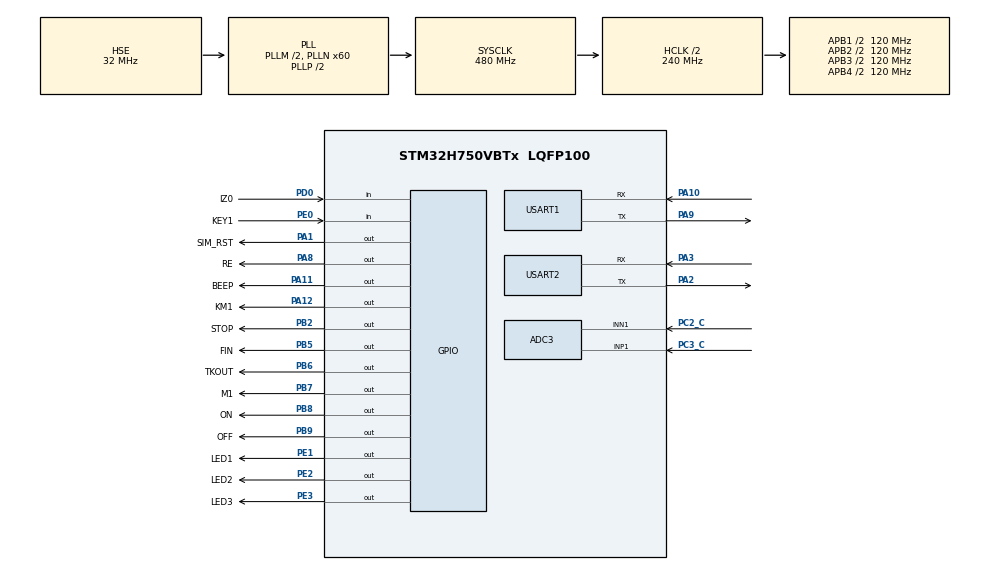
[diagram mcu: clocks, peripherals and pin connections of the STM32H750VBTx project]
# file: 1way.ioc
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ADC3.Channel-0\#ChannelRegularConversion=ADC_CHANNEL_1
ADC3.ClockPrescaler=ADC_CLOCK_ASYNC_DIV6
ADC3.ContinuousConvMode=DISABLE
ADC3.ConversionDataManagement=ADC_CONVERSIONDATA_DR
ADC3.DiscontinuousConvMode=ENABLE
ADC3.NbrOfConversion=1
ADC3.NbrOfConversionFlag=1
ADC3.OffsetNumber-0\#ChannelRegularConversion=ADC_OFFSET_NONE
ADC3.Overrun=ADC_OVR_DATA_OVERWRITTEN
ADC3.Rank-0\#ChannelRegularConversion=1
ADC3.SamplingTime-0\#ChannelRegularConversion=ADC_SAMPLETIME_1CYCLE_5
ADC3.SingleDiff-0\#ChannelRegularConversion=ADC_DIFFERENTIAL_ENDED
CORTEX_M7.CPU_DCache=Enabled
CORTEX_M7.CPU_ICache=Enabled
Mcu.Family=STM32H7
Mcu.Name=STM32H750VBTx
Mcu.Package=LQFP100
NVIC.PriorityGroup=NVIC_PRIORITYGROUP_4
NVIC.TIM1_BRK_IRQn=true\:0\:0\:false\:false\:true\:true\:true
NVIC.TIM1_CC_IRQn=true\:0\:0\:false\:false\:true\:true\:true
NVIC.TIM1_TRG_COM_IRQn=true\:0\:0\:false\:false\:true\:true\:true
NVIC.TIM1_UP_IRQn=true\:0\:0\:false\:false\:true\:true\:true
NVIC.USART1_IRQn=true\:0\:0\:false\:false\:true\:true\:true
NVIC.USART2_IRQn=true\:0\:0\:false\:false\:true\:true\:true
PA1.GPIO_Label=SIM_RST
PA1.Signal=GPIO_Output
PA10.Mode=Asynchronous
PA10.Signal=USART1_RX
PA11.GPIO_Label=BEEP
PA11.Signal=GPIO_Output
PA12.GPIO_Label=KM1
PA12.Signal=GPIO_Output
PA2.Mode=Asynchronous
PA2.Signal=USART2_TX
PA3.Mode=Asynchronous
PA3.Signal=USART2_RX
PA8.GPIO_Label=RE
PA8.Signal=GPIO_Output
PA9.Mode=Asynchronous
PA9.Signal=USART1_TX
PB2.GPIO_Label=STOP
PB2.Signal=GPIO_Output
PB5.GPIO_Label=FIN
PB5.Signal=GPIO_Output
PB6.GPIO_Label=TKOUT
PB6.Signal=GPIO_Output
PB7.GPIO_Label=M1
PB7.Signal=GPIO_Output
PB8.GPIO_Label=ON
PB8.Signal=GPIO_Output
PB9.GPIO_Label=OFF
PB9.Signal=GPIO_Output
PC14-OSC32_IN\ (OSC32_IN).Mode=LSE-External-Oscillator
PC14-OSC32_IN\ (OSC32_IN).Signal=RCC_OSC32_IN
PC15-OSC32_OUT\ (OSC32_OUT).Mode=LSE-External-Oscillator
PC15-OSC32_OUT\ (OSC32_OUT).Signal=RCC_OSC32_OUT
PC2_C.Mode=IN1-Differential
PC2_C.Signal=ADC3_INN1
PC3_C.Mode=IN1-Differential
PC3_C.Signal=ADC3_INP1
PD0.GPIO_Label=IZ0
PD0.Signal=GPIO_Input
PE0.GPIO_Label=KEY1
PE0.Signal=GPIO_Input
PE1.GPIO_Label=LED1
PE1.Signal=GPIO_Output
PE2.GPIO_Label=LED2
PE2.Signal=GPIO_Output
PE3.GPIO_Label=LED3
PE3.Signal=GPIO_Output
PH0-OSC_IN\ (PH0).Mode=HSE-External-Oscillator
PH0-OSC_IN\ (PH0).Signal=RCC_OSC_IN
PH1-OSC_OUT\ (PH1).Mode=HSE-External-Oscillator
PH1-OSC_OUT\ (PH1).Signal=RCC_OSC_OUT
ProjectManager.HeapSize=0x200
ProjectManager.StackSize=0x400
ProjectManager.TargetToolchain=MDK-ARM V5.27
RCC.ADCFreq_Value=75000000
RCC.APB1Freq_Value=120000000
RCC.APB2Freq_Value=120000000
RCC.APB3Freq_Value=120000000
RCC.APB4Freq_Value=120000000
RCC.CortexFreq_Value=480000000
RCC.D1PPRE=RCC_APB3_DIV2
RCC.D2PPRE1=RCC_APB1_DIV2
RCC.D2PPRE2=RCC_APB2_DIV2
RCC.D3PPRE=RCC_APB4_DIV2
RCC.DIVM1=2
RCC.DIVN1=60
RCC.DIVN2=150
RCC.HCLKFreq_Value=240000000
RCC.HPRE=RCC_HCLK_DIV2
RCC.HSE_VALUE=32000000
RCC.PLL2FRACN=0
RCC.PLL3FRACN=0
RCC.PLLFRACN=0
RCC.PLLSourceVirtual=RCC_PLLSOURCE_HSE
RCC.SYSCLKFreq_VALUE=480000000
RCC.SYSCLKSource=RCC_SYSCLKSOURCE_PLLCLK
RCC.USBFreq_Value=480000000
RTC.Date=11
RTC.Month=RTC_MONTH_NOVEMBER
RTC.Year=19
TIM1.Period=1000
TIM1.Prescaler=240
USART1.VirtualMode-Asynchronous=VM_ASYNC
USART2.VirtualMode-Asynchronous=VM_ASYNC
VP_RTC_VS_RTC_Activate.Mode=RTC_Enabled
VP_RTC_VS_RTC_Calendar.Mode=RTC_Calendar
VP_TIM1_VS_ClockSourceINT.Mode=Internal
board=custom

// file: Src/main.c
/* USER CODE BEGIN Header */
/**
  ******************************************************************************
  * @file           : main.c
  * @brief          : Main program body
  ******************************************************************************
  * @attention
  *
  * <h2><center>&copy; Copyright (c) 2019 STMicroelectronics.
  * All rights reserved.</center></h2>
  *
  * This software component is licensed by ST under BSD 3-Clause license,
  * the "License"; You may not use this file except in compliance with the
  * License. You may obtain a copy of the License at:
  *                        opensource.org/licenses/BSD-3-Clause
  *
  ******************************************************************************
  */
/* USER CODE END Header */

#include "main.h"
#include "adc.h"
#include "rtc.h"
#include "tim.h"
#include "usart.h"
#include "gpio.h"

/* USER CODE BEGIN Includes */
//USE_HAL_DRIVER, STM32H743xx,ARM_MATH_CM7,__CC_ARM,ARM_MATH_MATRIX_CHECK,ARM_MATH_ROUNDING  加入此行宏定义启用FFT算法
//#include "printf.h"
#include <stdio.h>
#include <string.h>
#include <math.h>
#include "sys.h"
#include "delay.h"
#include "arm_math.h"
#include "usmart.h"
#include "stmflash.h"
#include "stdlib.h"
#include "stdarg.h"
//#define  aprint(...)	{HAL_GPIO_WritePin(RE_GPIO_Port,RE_Pin,GPIO_PIN_SET);delay_us(200);printf(__VA_ARGS__);delay_us(200);HAL_GPIO_WritePin(RE_GPIO_Port,RE_Pin,GPIO_PIN_RESET);}
#define aprint(...) printf(__VA_ARGS__)
#define FFT_LENGTH 		1024
//#define adc2i					670							//adc转化成电流i的比值
#define bee				HAL_GPIO_To
#define FLASH_SAVE_ADDR  0X08020000 	//设置FLASH 保存地址(必须为4的倍数，且所在扇区,要大于本代码所占用到的扇区.
										//否则,写操作的时候,可能会导致擦除整个扇区,从而引起部分程序丢失.引起死机.

/* USER CODE END Includes */

/* USER CODE BEGIN PV */
int i=0;							//for循环变量
int j=0;							//for循环变量
int k=0;							//for循环变量
int sw=0;							//切换前后波形数据控制变量
int count=0;
float amp_value=0.0;				//限制漏电电流转换为幅值有效值
int zero = 33220;
int reset4G =0;  //4g数据 接收超时重置标志
int connect_confirm =0; //定时发送消息确保连接
int alarm_message = 0;
int time_out=0;
int filter_len=5;
int limit_A =300;
int filter_index = 0;
int beep_flag=0;
int led_flag=0;
float adc1_error[1024];
float adc0_error[1024];
int har_error=0;
float cos_error=0;
float I1_error=0;
float I0_error=0;
int printf_flag=1;
uint8_t input_read ;
u32 adc[100];
int adc2i;
u8 waveFlag=0;
uint8_t timeOutFlag=0;
uint8_t cnt = 1 ;
u8 start1 =0,start2=0;
char buffer4g[256];

//u16 USART_RX_STA;
//u8 USART_RX_BUF[200];
RTC_DateTypeDef sdatestructure;
RTC_TimeTypeDef stimestructure;
int year,month,date;
int hour,minute,second;
int flash[9];
int limit;
int I;
u8 test[] ={0x03, 0x04,0x00,0x01,0x02,0x00};
int uartTimer=0;
int settingFlag=0;

int rxDone=0;
//int CRC;
//int CRCH;
//int CRCL;
//struct {
//	int K1_Pin:1;
//
//}sw_input;

uint8_t aRxBuffer2[1];			//接收中断缓冲
uint8_t Uart2_RxBuff[256];		//接收缓冲
uint8_t Uart2_Rx_Cnt = 0;		//接收缓冲计数

uint8_t aRxBuffer1[1];			//接收中断缓冲
uint8_t Uart3_RxBuff[256];		//接收缓冲
uint8_t rxBuff[256];
uint8_t len=0;
uint8_t Uart3_Rx_Cnt = 0;		//接收缓冲计数
uint8_t	cAlmStr[] = "数据溢出(大于256)\r\n";

int tim_count=0;
int start=0;						//第一次执行main函数 只采集了一个波形不做比较，用于第一次跳过比较
arm_cfft_radix4_instance_f32 scfft;

int filter1[5],filter0[5];
int adc1[1030],adc0[1030];
float avg1[1024],avg0[1024];
float cut1[400],cut0[400];
int p1=0,p0=0;
float A=0;
float B=0;
float AB=0;
float adc00[1000],adc01[1000];

float input1[2*FFT_LENGTH],input0[2*FFT_LENGTH];
float output1[FFT_LENGTH],output0[FFT_LENGTH];
float max1=0,max0=0;
float Imax1=0;
float Imax0=0;
float cos1=0;
float cos0=0;
int har=0;
int flag=0;
float Itemp;

const unsigned char auchCRCLo[]={
	0x00, 0xC0, 0xC1, 0x01, 0xC3, 0x03, 0x02, 0xC2, 0xC6, 0x06,
	0x07, 0xC7, 0x05, 0xC5, 0xC4, 0x04, 0xCC, 0x0C, 0x0D, 0xCD,
	0x0F, 0xCF, 0xCE, 0x0E, 0x0A, 0xCA, 0xCB, 0x0B, 0xC9, 0x09,
	0x08, 0xC8, 0xD8, 0x18, 0x19, 0xD9, 0x1B, 0xDB, 0xDA, 0x1A,
	0x1E, 0xDE, 0xDF, 0x1F, 0xDD, 0x1D, 0x1C, 0xDC, 0x14, 0xD4,
	0xD5, 0x15, 0xD7, 0x17, 0x16, 0xD6, 0xD2, 0x12, 0x13, 0xD3,
	0x11, 0xD1, 0xD0, 0x10, 0xF0, 0x30, 0x31, 0xF1, 0x33, 0xF3,
	0xF2, 0x32, 0x36, 0xF6, 0xF7, 0x37, 0xF5, 0x35, 0x34, 0xF4,
	0x3C, 0xFC, 0xFD, 0x3D, 0xFF, 0x3F, 0x3E, 0xFE, 0xFA, 0x3A,
	0x3B, 0xFB, 0x39, 0xF9, 0xF8, 0x38, 0x28, 0xE8, 0xE9, 0x29,
	0xEB, 0x2B, 0x2A, 0xEA, 0xEE, 0x2E, 0x2F, 0xEF, 0x2D, 0xED,
	0xEC, 0x2C, 0xE4, 0x24, 0x25, 0xE5, 0x27, 0xE7, 0xE6, 0x26,
	0x22, 0xE2, 0xE3, 0x23, 0xE1, 0x21, 0x20, 0xE0, 0xA0, 0x60,
	0x61, 0xA1, 0x63, 0xA3, 0xA2, 0x62, 0x66, 0xA6, 0xA7, 0x67,
	0xA5, 0x65, 0x64, 0xA4, 0x6C, 0xAC, 0xAD, 0x6D, 0xAF, 0x6F,
	0x6E, 0xAE, 0xAA, 0x6A, 0x6B, 0xAB, 0x69, 0xA9, 0xA8, 0x68,
	0x78, 0xB8, 0xB9, 0x79, 0xBB, 0x7B, 0x7A, 0xBA, 0xBE, 0x7E,
	0x7F, 0xBF, 0x7D, 0xBD, 0xBC, 0x7C, 0xB4, 0x74, 0x75, 0xB5,
	0x77, 0xB7, 0xB6, 0x76, 0x72, 0xB2, 0xB3, 0x73, 0xB1, 0x71,
	0x70, 0xB0, 0x50, 0x90, 0x91, 0x51, 0x93, 0x53, 0x52, 0x92,
	0x96, 0x56, 0x57, 0x97, 0x55, 0x95, 0x94, 0x54, 0x9C, 0x5C,
	0x5D, 0x9D, 0x5F, 0x9F, 0x9E, 0x5E, 0x5A, 0x9A, 0x9B, 0x5B,
	0x99, 0x59, 0x58, 0x98, 0x88, 0x48, 0x49, 0x89, 0x4B, 0x8B,
	0x8A, 0x4A, 0x4E, 0x8E, 0x8F, 0x4F, 0x8D, 0x4D, 0x4C, 0x8C,
	0x44, 0x84, 0x85, 0x45, 0x87, 0x47, 0x46, 0x86, 0x82, 0x42,
	0x43, 0x83, 0x41, 0x81, 0x80, 0x40
};

const unsigned char auchCRCHi[]={
	 0x00, 0xC1, 0x81, 0x40, 0x01, 0xC0, 0x80, 0x41, 0x01, 0xC0,
	 0x80, 0x41, 0x00, 0xC1, 0x81, 0x40, 0x01, 0xC0, 0x80, 0x41,
	 0x00, 0xC1, 0x81, 0x40, 0x00, 0xC1, 0x81, 0x40, 0x01, 0xC0,
	 0x80, 0x41, 0x01, 0xC0, 0x80, 0x41, 0x00, 0xC1, 0x81, 0x40,
	 0x00, 0xC1, 0x81, 0x40, 0x01, 0xC0, 0x80, 0x41, 0x00, 0xC1,
	 0x81, 0x40, 0x01, 0xC0, 0x80, 0x41, 0x01, 0xC0, 0x80, 0x41,
	 0x00, 0xC1, 0x81, 0x40, 0x01, 0xC0, 0x80, 0x41, 0x00, 0xC1,
	 0x81, 0x40, 0x00, 0xC1, 0x81, 0x40, 0x01, 0xC0, 0x80, 0x41,
	 0x00, 0xC1, 0x81, 0x40, 0x01, 0xC0, 0x80, 0x41, 0x01, 0xC0,
	 0x80, 0x41, 0x00, 0xC1, 0x81, 0x40, 0x00, 0xC1, 0x81, 0x40,
	 0x01, 0xC0, 0x80, 0x41, 0x01, 0xC0, 0x80, 0x41, 0x00, 0xC1,
	 0x81, 0x40, 0x01, 0xC0, 0x80, 0x41, 0x00, 0xC1, 0x81, 0x40,
	 0x00, 0xC1, 0x81, 0x40, 0x01, 0xC0, 0x80, 0x41, 0x01, 0xC0,
	 0x80, 0x41, 0x00, 0xC1, 0x81, 0x40, 0x00, 0xC1, 0x81, 0x40,
	 0x01, 0xC0, 0x80, 0x41, 0x00, 0xC1, 0x81, 0x40, 0x01, 0xC0,
	 0x80, 0x41, 0x01, 0xC0, 0x80, 0x41, 0x00, 0xC1, 0x81, 0x40,
	 0x00, 0xC1, 0x81, 0x40, 0x01, 0xC0, 0x80, 0x41, 0x01, 0xC0,
	 0x80, 0x41, 0x00, 0xC1, 0x81, 0x40, 0x01, 0xC0, 0x80, 0x41,
	 0x00, 0xC1, 0x81, 0x40, 0x00, 0xC1, 0x81, 0x40, 0x01, 0xC0,
	 0x80, 0x41, 0x00, 0xC1, 0x81, 0x40, 0x01, 0xC0, 0x80, 0x41,
	 0x01, 0xC0, 0x80, 0x41, 0x00, 0xC1, 0x81, 0x40, 0x01, 0xC0,
	 0x80, 0x41, 0x00, 0xC1, 0x81, 0x40, 0x00, 0xC1, 0x81, 0x40,
	 0x01, 0xC0, 0x80, 0x41, 0x01, 0xC0, 0x80, 0x41, 0x00, 0xC1,
	 0x81, 0x40, 0x00, 0xC1, 0x81, 0x40, 0x01, 0xC0, 0x80, 0x41,
	 0x00, 0xC1, 0x81, 0x40, 0x01, 0xC0, 0x80, 0x41, 0x01, 0xC0,
	 0x80, 0x41, 0x00, 0xC1, 0x81, 0x40
 };

/* USER CODE END PV */

void SystemClock_Config(void);
/* USER CODE BEGIN PFP */
//void SET4G(void);
void sort(int* a,int len);
int get_ADC(ADC_HandleTypeDef adc);
void filter_A(int* a);
int abs(int a);
int filter_M(int *filter,int len);
unsigned int getCRC(unsigned char b[],unsigned int len);
void set_I(int a);
 float getSqrt(float*a,int len);
void get_info(void);
void set_adc2i(int a);
void get_wave(void);
void ufunc(void);
int printf4g(char *format, ...);
/* USER CODE END PFP */

int main(void)
{
  //printf("");

  /* Enable I-Cache---------------------------------------------------------*/
  SCB_EnableICache();

  /* Enable D-Cache---------------------------------------------------------*/
  SCB_EnableDCache();

  /* MCU Configuration--------------------------------------------------------*/

  /* Reset of all peripherals, Initializes the Flash interface and the Systick. */
  HAL_Init();

  /* Configure the system clock */
  SystemClock_Config();

  /* Initialize all configured peripherals */
  MX_TIM1_Init();
  MX_GPIO_Init();
  MX_ADC3_Init();
  MX_USART1_UART_Init();
  MX_USART2_UART_Init();
  MX_RTC_Init();
  /* USER CODE BEGIN 2 */
  HAL_ADCEx_Calibration_Start(&hadc3,ADC_CALIB_OFFSET,ADC_DIFFERENTIAL_ENDED);

 // HAL_TIM_Base_Start_IT(&htim1);
  delay_init(480);
  //HAL_GPIO_WritePin(RE_GPIO_Port,RE_Pin,GPIO_PIN_SET);
  HAL_UART_Receive_IT(&huart2, (uint8_t *)&aRxBuffer2,1);
  HAL_UART_Receive_IT(&huart1, (uint8_t *)&aRxBuffer2, 1);
  HAL_TIM_Base_Start_IT(&htim1);
//Timer4_Init(1000 ,240);

  //usmart_dev.init(240);
  STMFLASH_Read(FLASH_SAVE_ADDR,(u32*)flash,9);
  arm_cfft_radix4_init_f32(&scfft,FFT_LENGTH,0,1);
  delay_ms(1000);
  filter_index = filter_len/2;
  if(flash[0]>0)limit=flash[0]; else limit =100;
  if(flash[1]>0)I=flash[1];else I=2000;
	if(flash[2]>0)adc2i=flash[2];else adc2i=2682;
 // HAL_ADC_Start(&hadc3);
 // HAL_ADC_Start_DMA(&hadc3,adc,100);
  amp_value=(adc2i*limit);

//	input_read = (GPIOH->IDR-->2)&0x0F;
  /* USER CODE END 2 */

  /* Infinite loop */
  while (1)
  {

    /* USER CODE BEGIN 3 */
		sw=!sw;
//		HAL_ADC_Start(&hadc3);
//		HAL_ADC_PollForConversion(&hadc3,0xffff);
//		printf("%i\r\n",HAL_ADC_GetValue(&hadc3));

//**************************************ADC采样***************************************************//
		if(sw){	for(i=0;i<1030;i++){for(k=0;k<filter_len;k++)filter1[k]=get_ADC(hadc3);
																adc1[i]=filter_M(filter1,filter_len);
																delay_us(190);}
						filter_A(adc1);

		}else{for(i=0;i<1030;i++){for(k=0;k<filter_len;k++)filter1[k]=get_ADC(hadc3);
																adc0[i]=filter_M(filter1,filter_len);
																delay_us(190);}
						filter_A(adc0);
		}

	//*************************************滑动平均、cut、input***********************************************//
		if(sw){	for(i=0;i<1024;i++){input1[2*i]=avg1[i]=(adc1[i]+adc1[i+1]+adc1[i+2]+adc1[i+3]+adc1[i+4])/5.0;	input1[2*i+1]=0;}
						max1=0;
						for(i=0;i<200;i++){	if(avg1[i]>max1)max1=avg1[i];};
						for(i=0;i<200;i++){	if(avg1[i]==max1)p1=i;}
						for(i=0;i<400;i++){	cut1[i]=avg1[i+p1];}
				Itemp=Imax1;
				Imax1=getSqrt(avg1,1000);
		}
		else{for(i=0;i<1024;i++){	input0[2*i]=avg0[i]=(adc0[i]+adc0[i+1]+adc0[i+2]+adc0[i+3]+adc0[i+4])/5.0;	input0[2*i+1]=0;}

						max0=0;
						for(i=0;i<200;i++){	if(avg0[i]>max0)max0=avg0[i];};
						for(i=0;i<200;i++){	if(avg0[i]==max0)p0=i;}
						for(i=0;i<400;i++){	cut0[i]=avg0[i+p0];}
				Itemp=Imax0;
				Imax0=getSqrt(avg0,1000);
		}

	//***************************************相似度计算*********************************************************//

		if(start){A=B=AB=0;
							for(i=0;i<400;i++){A+=(cut0[i]-zero)*(cut0[i]-zero);B+=(cut1[i]-zero)*(cut1[i]-zero);AB+=(cut0[i]-zero)*(cut1[i]-zero);}
							cos1=AB*AB/A/B;}

	//***************************************FFT计算************************************************************//
//		if(sw){	arm_cfft_radix4_f32(&scfft,input1);
//						arm_cmplx_mag_f32(input1,output1,FFT_LENGTH);
//						Imax1=0;
//						for(i=1;i<100;i++){	if(output1[i]>Imax1)Imax1=output1[i];}}
//		else if(start){
//				arm_cfft_radix4_f32(&scfft,input0);
//				arm_cmplx_mag_f32(input0,output0,FFT_LENGTH);
//				Imax0=0;
//				for(i=1;i<100;i++){	if(output0[i]>Imax0)Imax0=output0[i];}}

	//*****************************************************前后波形振幅比较******************//
		if(start){if(sw){if((Imax1-Itemp)>amp_value)har=(int)(Imax1-Itemp);}
							else{	if((Imax0-Itemp)>amp_value)har=(int)(Imax0-Itemp);}}

	//***************************************************报警****************************************//
		if((((int)Imax1>(I*adc2i))||((int)Imax0>(I*adc2i))||har)&&start2){		flag=1;
						memcpy(adc00,avg0,sizeof(adc00));
						memcpy(adc01,avg1,sizeof(adc00));
						har_error=har;
						cos_error=cos1;
						I1_error=Imax1;
						I0_error=Imax0;
						aprint("漏电电流11：%05i\t漏电电流10：%05i\t突变电流1：%05i",(int)Imax1/adc2i,(int)Imax0/adc2i,(har/adc2i));
								har=0;}
//		for(i=0;i<1024;i++)printf("%i\r\n",adc0[i]);
//		printf("*********************************");
//		printf("%f\r\n",Imax1/adc2i);
		if(start1)start2=1;
		if(start)start1=1;
		start=1;
		har=0;
		//if(test)printf("*****************");
		if(settingFlag)
		{
			set_I(0);
			settingFlag=0;
			printf("%i\t%i\r\n",flash[0],flash[1]);
		}
		//	aprint("%f\r\n",Imax1/adc2i);
		//	aprint("test123");
//		HAL_GPIO_WritePin(RE_GPIO_Port,RE_Pin,GPIO_PIN_SET);
//		printf("test3");//delay_us(15);
//		HAL_GPIO_WritePin(RE_GPIO_Port,RE_Pin,GPIO_PIN_RESET);

		//printf("test1");
			//printf("%i\t%i\r\n",limit,I);
//		int crc=getCRC(test,6);
//		uint8_t CRCH=crc>>8;
//		uint8_t CRCL=crc&0x00ff;
//		printf("%x\t%x\t%x\r\n",crc,CRCH,CRCL);
		if(waveFlag)
		{
			waveFlag=0;
			for(int i=0;i<1000;i++)
			{
				aprint("%f\t%f\r\n",avg0[i],avg1[i]);
			}
		}

		//printf4g("test");

  }
  /* USER CODE END 3 */
}

void SystemClock_Config(void)
{
  RCC_OscInitTypeDef RCC_OscInitStruct = {0};
  RCC_ClkInitTypeDef RCC_ClkInitStruct = {0};
  RCC_PeriphCLKInitTypeDef PeriphClkInitStruct = {0};

  /** Supply configuration update enable
  */
  HAL_PWREx_ConfigSupply(PWR_LDO_SUPPLY);
  /** Configure the main internal regulator output voltage
  */
  __HAL_PWR_VOLTAGESCALING_CONFIG(PWR_REGULATOR_VOLTAGE_SCALE0);

  while(!__HAL_PWR_GET_FLAG(PWR_FLAG_VOSRDY)) {}
  /** Macro to configure the PLL clock source
  */
  __HAL_RCC_PLL_PLLSOURCE_CONFIG(RCC_PLLSOURCE_HSE);
  /** Initializes the CPU, AHB and APB busses clocks
  */
  RCC_OscInitStruct.OscillatorType = RCC_OSCILLATORTYPE_LSI|RCC_OSCILLATORTYPE_HSE;
  RCC_OscInitStruct.HSEState = RCC_HSE_ON;
  RCC_OscInitStruct.LSIState = RCC_LSI_ON;
  RCC_OscInitStruct.PLL.PLLState = RCC_PLL_ON;
  RCC_OscInitStruct.PLL.PLLSource = RCC_PLLSOURCE_HSE;
  RCC_OscInitStruct.PLL.PLLM = 2;
  RCC_OscInitStruct.PLL.PLLN = 60;
  RCC_OscInitStruct.PLL.PLLP = 2;
  RCC_OscInitStruct.PLL.PLLQ = 2;
  RCC_OscInitStruct.PLL.PLLR = 2;
  RCC_OscInitStruct.PLL.PLLRGE = RCC_PLL1VCIRANGE_3;
  RCC_OscInitStruct.PLL.PLLVCOSEL = RCC_PLL1VCOWIDE;
  RCC_OscInitStruct.PLL.PLLFRACN = 0;
  if (HAL_RCC_OscConfig(&RCC_OscInitStruct) != HAL_OK)
  {
    Error_Handler();
  }
  /** Initializes the CPU, AHB and APB busses clocks
  */
  RCC_ClkInitStruct.ClockType = RCC_CLOCKTYPE_HCLK|RCC_CLOCKTYPE_SYSCLK
                              |RCC_CLOCKTYPE_PCLK1|RCC_CLOCKTYPE_PCLK2
                              |RCC_CLOCKTYPE_D3PCLK1|RCC_CLOCKTYPE_D1PCLK1;
  RCC_ClkInitStruct.SYSCLKSource = RCC_SYSCLKSOURCE_PLLCLK;
  RCC_ClkInitStruct.SYSCLKDivider = RCC_SYSCLK_DIV1;
  RCC_ClkInitStruct.AHBCLKDivider = RCC_HCLK_DIV2;
  RCC_ClkInitStruct.APB3CLKDivider = RCC_APB3_DIV2;
  RCC_ClkInitStruct.APB1CLKDivider = RCC_APB1_DIV2;
  RCC_ClkInitStruct.APB2CLKDivider = RCC_APB2_DIV2;
  RCC_ClkInitStruct.APB4CLKDivider = RCC_APB4_DIV2;

  if (HAL_RCC_ClockConfig(&RCC_ClkInitStruct, FLASH_LATENCY_4) != HAL_OK)
  {
    Error_Handler();
  }
  PeriphClkInitStruct.PeriphClockSelection = RCC_PERIPHCLK_RTC|RCC_PERIPHCLK_USART2
                              |RCC_PERIPHCLK_USART1|RCC_PERIPHCLK_ADC;
  PeriphClkInitStruct.PLL2.PLL2M = 32;
  PeriphClkInitStruct.PLL2.PLL2N = 150;
  PeriphClkInitStruct.PLL2.PLL2P = 2;
  PeriphClkInitStruct.PLL2.PLL2Q = 2;
  PeriphClkInitStruct.PLL2.PLL2R = 2;
  PeriphClkInitStruct.PLL2.PLL2RGE = RCC_PLL2VCIRANGE_0;
  PeriphClkInitStruct.PLL2.PLL2VCOSEL = RCC_PLL2VCOMEDIUM;
  PeriphClkInitStruct.PLL2.PLL2FRACN = 0;
  PeriphClkInitStruct.Usart234578ClockSelection = RCC_USART234578CLKSOURCE_D2PCLK1;
  PeriphClkInitStruct.Usart16ClockSelection = RCC_USART16CLKSOURCE_D2PCLK2;
  PeriphClkInitStruct.AdcClockSelection = RCC_ADCCLKSOURCE_PLL2;
  PeriphClkInitStruct.RTCClockSelection = RCC_RTCCLKSOURCE_LSI;
  if (HAL_RCCEx_PeriphCLKConfig(&PeriphClkInitStruct) != HAL_OK)
  {
    Error_Handler();
  }
}

/* USER CODE BEGIN 4 */

//void USART2_IRQHandler(void)
//{
//	u8 Res;
//#if SYSTEM_SUPPORT_OS	 	//使用OS
//	OSIntEnter();
//#endif
//	if((__HAL_UART_GET_FLAG(&huart2,UART_FLAG_RXNE)!=RESET))  //接收中断(接收到的数据必须是0x0d 0x0a结尾)
//	{
//        HAL_UART_Receive(&huart2,&Res,1,1000);
//		printf("**********");
//		if((USART_RX_STA&0x8000)==0)//接收未完成
//		{
//			if(USART_RX_STA&0x4000)//接收到了0x0d
//			{
//				if(Res!=0x0a)USART_RX_STA=0;//接收错误,重新开始
//				else USART_RX_STA|=0x8000;	//接收完成了
//			}
//			else //还没收到0X0D
//			{
//				if(Res==0x0d)USART_RX_STA|=0x4000;
//				else
//				{
//					USART_RX_BUF[USART_RX_STA&0X3FFF]=Res ;
//					USART_RX_STA++;
//					if(USART_RX_STA>(200-1))USART_RX_STA=0;//接收数据错误,重新开始接收
//				}
//			}
//		}
//		HAL_UART_Receive_IT(&huart2, (uint8_t *)&aRxBuffer2, 1);
//	}
//	HAL_UART_IRQHandler(&huart2);
//#if SYSTEM_SUPPORT_OS	 	//使用OS
//	OSIntExit();
//#endif
//}
void HAL_UART_RxCpltCallback(UART_HandleTypeDef *huart)
{
  /* Prevent unused argument(s) compilation warning */
  UNUSED(huart);
  /* NOTE: This function Should not be modified, when the callback is needed,
           the HAL_UART_TxCpltCallback could be implemented in the user file
   */
	if(huart->Instance==USART2)//如果是串口1
	{
		if(aRxBuffer2[0]==0x23)
		{
			ufunc();
			//aprint("testtttttttttttttttttt");

			memset(USART_RX_BUF,0x00,200);
			HAL_UART_Receive_IT(&huart2, (uint8_t *)&aRxBuffer2, 1);
//			HAL_UART_Receive_IT(&huart2, (uint8_t *)&aRxBuffer2, 1);
			cnt=0;
		}
		else
		{
			USART_RX_BUF[cnt-1]=aRxBuffer2[0];
			++cnt;
			HAL_UART_Receive_IT(&huart2, (uint8_t *)&aRxBuffer2, 1);
		}

		//HAL_UART_Receive_IT(&huart2, (uint8_t *)&aRxBuffer2, 1);
	}

//		USART_RX_BUF[USART_RX_STA&0X3FFF]=aRxBuffer[0] ;
//		if(aRxBuffer[0]==0x23)
//		{
//			USART_RX_STA|=0x8000;
//			USART_RX_STA=0;
//		}
//		USART_RX_STA++;
		//printf("hello");

}
void Uart_RxOvertimeEnable(void)
{
    /*使能接收超时功能*/
    SET_BIT(huart1.Instance->CR2,USART_CR2_RTOEN);
    /*使能超时接收中断*/
    //SET_BIT(huart1.Instance->CR1,USART_CR1_RTOIE);
    /*向RTOR寄存器填入需要超时的长度，单位为一个波特时长,3.5个字节*11波特长度 = 39  */
    WRITE_REG(huart1.Instance->RTOR,39);
	READ_BIT(huart1.Instance->ISR,USART_ISR_RTOF);
	SET_BIT(huart1.Instance->ICR,USART_ICR_RTOCF);
}

void ufunc(void)
	{
		int temp;
			switch(USART_RX_BUF[0])
			{
				case 'w':

					get_wave();
					break;
				case 'a':
					temp = atoi((char*)USART_RX_BUF+1);
					if(temp)
					{
						set_adc2i(temp);
					}
					break;
				case 'i':
					temp = atoi((char*)USART_RX_BUF+1);
					if(temp)
					{
						set_I(temp);
					}
					break;
				case 'l':

					temp = atoi((char*)USART_RX_BUF+1);
					if(temp)
					{
						set_limitA(temp);
					}
					break;
				case 'f':

					get_info();
					break;
				case 's':
					aprint("%f\r\n",Imax1/adc2i);
					break;

			}
	}

//**************************************printf*****************************//
int fputc(int ch, FILE *f)
{
// 	if(printf_flag){
//			while((USART1->ISR&0X40)==0);
//			USART1->TDR=(uint8_t)ch; }
//		else{while((USART2->ISR&0X40)==0);
//				USART2->TDR=(uint8_t)ch;}
		while((USART2->ISR&0X40)==0);
		USART2->TDR=(uint8_t)ch;
	return ch;
}

int printf4g(char *format, ...)
{

   va_list aptr;
   int ret;

   va_start(aptr, format);
   ret = vsprintf(buffer4g, format, aptr);
   va_end(aptr);
	printf("AT+CIPSEND=1,%i,\"219.128.73.196\",20030\r\n",ret);
	delay_ms(15);
	printf("%s\n", buffer4g);
   return(ret);
}
//void aprint(const char *a, ...)
//{
//
//}

int abs(int a){if(a>=0)return a;else return -a;}
//********************************************限幅***************************************//
void filter_A(int * a){for(i=8;i<1000;i++){
//			if(abs(a[i]-a[i-1])>limit_A && abs(a[i]-a[i+1])>limit_A) a[i]=a[i-1];
//			if(abs(a[i]-a[i-1])>limit_A && abs(a[i+1]-a[i+2])>limit_A) a[i]=a[i+1]=a[i-1];
//			if(abs(a[i]-a[i-1])>limit_A && abs(a[i+3]-a[i+2])>limit_A) a[i+2]=a[i]=a[i+1]=a[i-1];
			if(((a[i]-a[i-8])>200)&&((a[i]-a[i+8])>200))a[i+5]=a[i+4]=a[i+3]=a[i+2]=a[i+1]=a[i]=a[i-1]=a[i-2]=a[i-3]=a[i-4]=a[i-5];
			if(((a[i-8]-a[i])>200)&&((a[i+8]-a[i])>200))a[i+5]=a[i+4]=a[i+3]=a[i+2]=a[i+1]=a[i]=a[i-1]=a[i-2]=a[i-3]=a[i-4]=a[i-5];
			//if((i>10)&&(abs(a[i]-a[i-1])>200))a[i]=a[i-1];
			//if(abs(a[i]-a[i-1])>50)a[i]=a[i-1];
}}

//****************************************get  ADC***************************************//
int get_ADC(ADC_HandleTypeDef adc){
			HAL_ADC_Start(&adc);
			HAL_ADC_PollForConversion(&adc,0xffff);
			return HAL_ADC_GetValue(&adc);
}

//*********************************************中值**************************************//
int filter_M(int *filter,int len){
	sort(filter,len);
	return filter[len/2];
}

//******************************************排序************************************//
void sort(int* a,int len)
{
    int begin = 1;
    int i = 0;
    while(begin < len)
    {
        int key = a[begin];
        for(i = begin-1;i>=0;i--)
        {
            if(a[i]<=key)
            {
                a[i+1] = key;
                break;
            }
            a[i+1] = a[i];
        }
        if(i<0)
            a[0] = key;
        begin++;
    }
}

void get_info(void)
{
	aprint("limit=%i\r\nI=%i\r\nadc2i=%i",limit,I,adc2i);
}

void get_wave(void)
{
	for(int i=0;i<1000;i++)
	{
		aprint("%f\t%f\r\n",adc00[i],adc01[i]);
	}
}
//*************************************漏电设定***************************************//
void set_limitA(int a){

	flash[0]=limit=a;

	STMFLASH_Write(FLASH_SAVE_ADDR,(u32*)flash,9);
	get_info();

}
void set_adc2i(int a)
{
	flash[2]=adc2i=Imax1/a;
	STMFLASH_Write(FLASH_SAVE_ADDR,(u32*)flash,9);
	get_info();
}

//********************************************设定漏电电流*************************************//
void set_I(int a)
{
	flash[1]=I=a;
	STMFLASH_Write(FLASH_SAVE_ADDR,(u32*)flash,9);
	get_info();
//	int crc=getCRC(rxBuff,len-2);
//    uint8_t CRCH=crc>>8;
//    uint8_t CRCL=crc&0x00ff;
//	//HAL_UART_Transmit(&huart2, (uint8_t *)&rxBuff, len,0xFFFF);
//	if(CRCH==rxBuff[len-2]&&CRCL==rxBuff[len-1])
//	{
//		printf("success");
//		if(rxBuff[3]==1)limit=((rxBuff[4]<<8)+rxBuff[5]);
//		if(rxBuff[3]==2)I=((rxBuff[4]<<8)+rxBuff[5]);
//		flash[0]=limit;
//		flash[1]=I;
//		STMFLASH_Write(FLASH_SAVE_ADDR,(u32*)flash,2);
//	}
//	else
//	{
//		printf("数据错误");
//	}

}

float getSqrt(float*a,int len)
{
	float temp=0;
	float zero=0;
	for(int i=0;i<len;i++)
	{
		zero+=a[i];
		//printf("%f\r\n",a[i]);
	}
	//printf("zero:%f\r\n",zero);
	zero=zero/len;
	//printf("zero;%f\r\n",zero);
	for(int i=0;i<len;i++)
	{
		temp+=((a[i]-zero)*(a[i]-zero));
	}
	return sqrtf(temp)*100;
}

//***************************************时间设定*****************************************//

//void SET4G(void){
//	delay_ms(300);
//	printf("AT+CGSOCKCONT=1,\"IP\",\"CMNET\"\r\n");
//	delay_ms(300);
//	printf("AT+CSOCKSETPN=1\r\n");
//	delay_ms(300);
//	printf("AT+NETOPEN\r\n");
//	delay_ms(300);
//	printf("AT+CIPOPEN=1,\"UDP\",,,20030\r\n");
//	delay_ms(300);
//	printf("AT+CIPSEND=1,18,\"219.128.73.196\",20030\r\n");
//	delay_ms(300);
//	printf("4G模块初始化完成\r\n");
////	HAL_GPIO_TogglePin(BEE_GPIO_Port,BEE_Pin);
////	delay_ms(1000);
////	HAL_GPIO_TogglePin(BEE_GPIO_Port,BEE_Pin);
//
//}

 unsigned int getCRC(unsigned char b[],unsigned int len){
	 unsigned char h=0xff;
	 unsigned char l=0xff;
	 unsigned int index=0;
	 unsigned int i=0;
	 while(len--!=0){
		 index=h^(((unsigned char)b[i])&0xff);
		 h=(unsigned char) (l^(auchCRCHi[index]));
		 l=(auchCRCLo[index]);
		 i++;
	 }

	 return (unsigned int) (h << 8 | l) ;
 }

void HAL_TIM_PeriodElapsedCallback(TIM_HandleTypeDef *htim)
{
//	uartTimer++;
//	if(uartTimer>30)
//	{
//		if((Uart3_RxBuff[0] == 0x03)&&(Uart3_RxBuff[1] == 0x04))
//		{
//			//printf("***********************");
//			settingFlag=1;
//			len = Uart3_Rx_Cnt;
//			for(int i=0;i<Uart3_Rx_Cnt;i++)rxBuff[i]=Uart3_RxBuff[i];
//			memset(Uart3_RxBuff,0x00,sizeof(Uart3_RxBuff));
//		}
//		Uart3_Rx_Cnt=0;
//	}
	tim_count++;
	if(tim_count==1000)
		{
			HAL_GPIO_TogglePin(LED1_GPIO_Port,LED1_Pin);tim_count=0;
			time_out++;
			connect_confirm++;
			led_flag=!led_flag;
			if(flag)
				{
					HAL_GPIO_WritePin(KM1_GPIO_Port,KM1_Pin,GPIO_PIN_SET);
					beep_flag=1;
				}

		}

		if(led_flag){if(flag)HAL_GPIO_WritePin(LED2_GPIO_Port,LED2_Pin,GPIO_PIN_SET);}
		else{ if(flag)HAL_GPIO_WritePin(LED2_GPIO_Port,LED2_Pin,GPIO_PIN_RESET);}
		if(beep_flag&&led_flag)HAL_GPIO_TogglePin(BEEP_GPIO_Port,BEEP_Pin);

	if(!HAL_GPIO_ReadPin(KEY1_GPIO_Port,KEY1_Pin))
		{
			flag=0;HAL_GPIO_WritePin(KM1_GPIO_Port,KM1_Pin,GPIO_PIN_RESET);
			HAL_GPIO_WritePin(LED2_GPIO_Port,LED2_Pin,GPIO_PIN_RESET);
			beep_flag=0;HAL_GPIO_WritePin(BEEP_GPIO_Port,BEEP_Pin,GPIO_PIN_RESET);
		}
}
/* USER CODE END 4 */

void Error_Handler(void)
{
}

/************************ (C) COPYRIGHT STMicroelectronics *****END OF FILE****/
